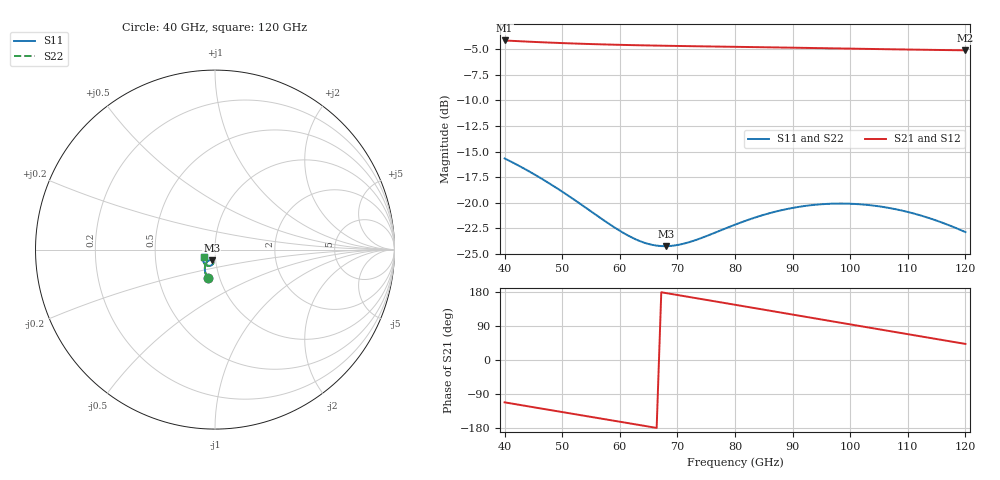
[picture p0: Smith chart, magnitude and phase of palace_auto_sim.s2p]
#  GHZ S DB R 50
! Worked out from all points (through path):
!   101 points, 40 GHz to 120 GHz, reference 50 ohm
!   highest |S21| = -4.15 dB at 40 GHz (marker M1); lowest = -5.1 dB at 120 GHz (marker M2)
!   group delay of S21, straight-line fit = 7.15 ps
!   lowest |S11| = -24.2 dB at 68 GHz (marker M3), VSWR 1.13, Z = 47.9 - j5.65 ohm
!   |S11| at or under -10 dB: start of sweep to end of sweep
!   |S22| runs from -24.2 to -15.7 dB; largest |S21 - S12| = 9.7e-14
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40  -15.67 -103.9  -4.15 -111.7  -4.15 -111.7  -15.66 -103.9
43.2  -16.60 -109.9  -4.25 -120.0  -4.25 -120.0  -16.59 -109.9
47.2  -17.91 -116.3  -4.35 -130.2  -4.35 -130.2  -17.90 -116.2
53.6  -20.29 -122.4  -4.48 -146.6  -4.48 -146.6  -20.27 -122.4
57.6  -21.85 -122.6  -4.55 -156.8  -4.55 -156.8  -21.84 -122.5
61.6  -23.24 -118.9  -4.60 -167.0  -4.60 -167.0  -23.23 -118.8
64.8  -23.99 -113.5  -4.64 -175.1  -4.64 -175.1  -23.97 -113.3
67.2  -24.22 -108.7  -4.66 178.7  -4.66 178.7  -24.20 -108.5
68  -24.23 -107.1  -4.67 176.7  -4.67 176.7  -24.20 -106.9
70.4  -24.08 -102.8  -4.69 170.5  -4.69 170.5  -24.05 -102.6
73.6  -23.55 -98.8  -4.72 162.3  -4.72 162.3  -23.52 -98.6
80  -22.14 -97.5  -4.78 145.8  -4.78 145.8  -22.10 -97.4
84  -21.34 -100.3  -4.81 135.4  -4.81 135.4  -21.31 -100.1
87.2  -20.84 -103.7  -4.84 127.1  -4.84 127.1  -20.81 -103.5
90.4  -20.46 -107.8  -4.86 118.8  -4.86 118.8  -20.43 -107.7
93.6  -20.21 -112.4  -4.89 110.6  -4.89 110.6  -20.18 -112.2
96.8  -20.09 -117.3  -4.92 102.3  -4.92 102.3  -20.06 -117.1
100  -20.09 -122.3  -4.95 94.0  -4.95 94.0  -20.07 -122.1
103.2  -20.22 -127.2  -4.98 85.7  -4.98 85.7  -20.21 -127.0
107.2  -20.55 -133.2  -5.02 75.4  -5.02 75.4  -20.55 -132.9
113.6  -21.47 -141.5  -5.07 58.9  -5.07 58.9  -21.50 -141.2
120  -22.86 -147.0  -5.12 42.4  -5.12 42.4  -22.92 -146.5
